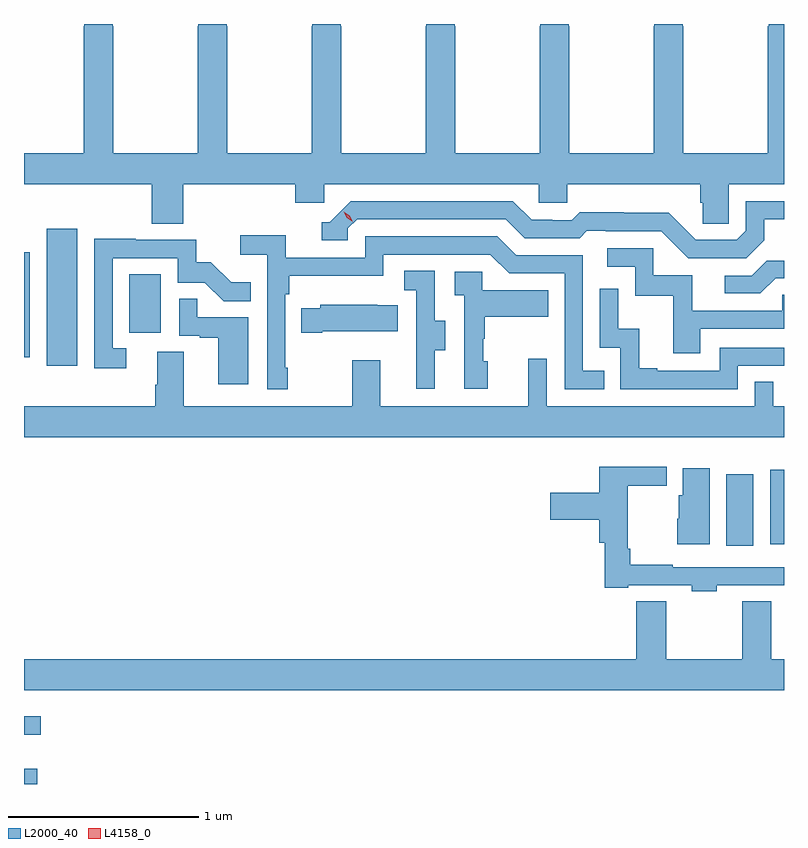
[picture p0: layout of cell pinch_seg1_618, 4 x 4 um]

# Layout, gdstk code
import gdstk
lib = gdstk.Library(unit=1e-6, precision=1e-09)
def R(c, l, rs):  # rectangles x0, y0, x1, y1
    for r in rs: c.add(gdstk.rectangle(r[:2], r[2:], *l))
def P(c, l, *ps):  # polygons
    for p in ps: c.add(gdstk.Polygon(p, *l))
L2000_40 = (2000, 40)
L4158_0 = (4158, 0)

pinch_seg1_618 = lib.new_cell('pinch_seg1_618')
R(pinch_seg1_618, L2000_40, [(1126.913,519.271,1126.984,519.352), (1126.913,519.531,1127.002,519.628), (1130.609,520.524,1130.752,520.9), (1130.84,520.532,1130.913,520.924), (1127.033,521.472,1127.194,522.193), (1126.913,521.518,1126.944,522.07), (1127.468,521.645,1127.632,521.953)])
P(pinch_seg1_618, L2000_40, [(1127.585,522.22),(1127.75,522.22),(1127.75,522.428),(1128.341,522.428),(1128.341,522.33),(1128.492,522.33),(1128.492,522.428),(1129.623,522.428),(1129.623,522.33),(1129.773,522.33),(1129.773,522.428),(1130.471,522.428),(1130.471,522.33),(1130.485,522.33),(1130.485,522.22),(1130.622,522.22),(1130.622,522.428),(1130.913,522.428),(1130.913,523.271),(1130.833,523.271),(1130.833,523.259),(1130.827,523.259),(1130.827,522.592),(1130.382,522.592),(1130.382,523.259),(1130.379,523.259),(1130.379,523.271),(1130.229,523.271),(1130.229,523.259),(1130.227,523.259),(1130.227,522.592),(1129.782,522.592),(1129.782,523.259),(1129.779,523.259),(1129.779,523.271),(1129.629,523.271),(1129.629,523.259),(1129.627,523.259),(1129.627,522.592),(1129.182,522.592),(1129.182,523.259),(1129.179,523.259),(1129.179,523.271),(1129.029,523.271),(1129.029,523.259),(1129.027,523.259),(1129.027,522.592),(1128.582,522.592),(1128.582,523.259),(1128.579,523.259),(1128.579,523.271),(1128.429,523.271),(1128.429,523.259),(1128.427,523.259),(1128.427,522.592),(1127.982,522.592),(1127.982,523.259),(1127.979,523.259),(1127.979,523.271),(1127.829,523.271),(1127.829,523.259),(1127.827,523.259),(1127.827,522.592),(1127.382,522.592),(1127.382,523.259),(1127.379,523.259),(1127.379,523.271),(1127.229,523.271),(1127.229,523.259),(1127.227,523.259),(1127.227,522.592),(1126.913,522.592),(1126.913,522.428),(1127.585,522.428)],
  [(1130.809,522.133),(1130.809,522.243),(1130.913,522.243),(1130.913,522.339),(1130.712,522.339),(1130.712,522.183),(1130.664,522.135),(1130.448,522.135),(1130.306,522.277),(1130.07,522.277),(1130.07,522.28),(1129.837,522.28),(1129.795,522.237),(1129.692,522.237),(1129.692,522.24),(1129.585,522.24),(1129.486,522.339),(1128.633,522.339),(1128.522,522.228),(1128.479,522.228),(1128.479,522.132),(1128.618,522.132),(1128.618,522.195),(1128.666,522.243),(1129.449,522.243),(1129.548,522.144),(1129.837,522.144),(1129.876,522.183),(1129.975,522.183),(1129.975,522.18),(1130.268,522.18),(1130.409,522.039),(1130.715,522.039)],
  [(1128.301,521.461),(1128.288,521.461),(1128.288,521.849),(1128.308,521.849),(1128.308,521.945),(1128.804,521.945),(1128.804,522.057),(1129.368,522.057),(1129.467,521.958),(1129.758,521.958),(1129.758,521.349),(1129.967,521.349),(1129.967,521.445),(1129.854,521.445),(1129.854,522.054),(1129.504,522.054),(1129.405,522.153),(1128.708,522.153),(1128.708,522.042),(1128.29,522.042),(1128.29,522.158),(1128.051,522.158),(1128.051,522.056),(1128.192,522.056),(1128.192,521.349),(1128.301,521.349)],
  [(1127.452,521.565),(1127.379,521.565),(1127.379,522.039),(1127.721,522.039),(1127.721,521.91),(1127.865,521.91),(1127.963,521.812),(1128.107,521.812),(1128.107,521.911),(1128.003,521.911),(1127.896,522.018),(1127.82,522.018),(1127.82,522.135),(1127.501,522.135),(1127.501,522.14),(1127.283,522.14),(1127.283,521.46),(1127.452,521.46)],
  [(1130.473,521.667),(1130.913,521.667),(1130.913,521.847),(1130.905,521.847),(1130.905,521.763),(1130.431,521.763),(1130.431,521.949),(1130.226,521.949),(1130.226,522.09),(1129.983,522.09),(1129.983,521.994),(1130.13,521.994),(1130.13,521.841),(1130.329,521.841),(1130.329,521.538),(1130.473,521.538)],
  [(1130.869,521.934),(1130.913,521.934),(1130.913,522.026),(1130.822,522.026),(1130.742,521.946),(1130.601,521.946),(1130.601,521.853),(1130.788,521.853)],
  [(1129.075,521.554),(1129.129,521.554),(1129.129,521.709),(1129.074,521.709),(1129.074,521.972),(1128.915,521.972),(1128.915,521.869),(1128.978,521.869),(1128.978,521.565),(1128.977,521.565),(1128.977,521.352),(1129.075,521.352)],
  [(1129.354,521.496),(1129.329,521.496),(1129.329,521.615),(1129.339,521.615),(1129.339,521.729),(1129.673,521.729),(1129.673,521.869),(1129.326,521.869),(1129.326,521.967),(1129.179,521.967),(1129.179,521.843),(1129.23,521.843),(1129.23,521.352),(1129.354,521.352)],
  [(1130.67,521.472),(1130.913,521.472),(1130.913,521.568),(1130.574,521.568),(1130.574,521.445),(1130.245,521.445),(1130.245,521.458),(1130.15,521.458),(1130.15,521.666),(1130.04,521.666),(1130.04,521.878),(1129.944,521.878),(1129.944,521.568),(1130.052,521.568),(1130.052,521.349),(1130.67,521.349)],
  [(1128.094,521.727),(1127.825,521.727),(1127.825,521.825),(1127.73,521.825),(1127.73,521.631),(1127.837,521.631),(1127.837,521.619),(1127.936,521.619),(1127.936,521.376),(1128.094,521.376)],
  [(1128.484,521.654),(1128.881,521.654),(1128.881,521.791),(1128.773,521.791),(1128.773,521.794),(1128.471,521.794),(1128.471,521.776),(1128.373,521.776),(1128.373,521.647),(1128.484,521.647)],
  [(1130.913,521.26),(1130.856,521.26),(1130.856,521.387),(1130.76,521.387),(1130.76,521.26),(1129.665,521.26),(1129.665,521.509),(1129.568,521.509),(1129.568,521.26),(1128.787,521.26),(1128.787,521.5),(1128.64,521.5),(1128.64,521.26),(1127.755,521.26),(1127.755,521.546),(1127.615,521.546),(1127.615,521.372),(1127.603,521.372),(1127.603,521.26),(1126.913,521.26),(1126.913,521.096),(1130.913,521.096)],
  [(1130.559,520.317),(1130.913,520.317),(1130.913,520.413),(1130.327,520.413),(1130.327,520.426),(1130.105,520.426),(1130.105,520.51),(1130.09,520.51),(1130.09,520.84),(1130.296,520.84),(1130.296,520.942),(1129.94,520.942),(1129.94,520.803),(1129.683,520.803),(1129.683,520.661),(1129.94,520.661),(1129.94,520.541),(1129.969,520.541),(1129.969,520.305),(1130.092,520.305),(1130.092,520.317),(1130.427,520.317),(1130.427,520.285),(1130.559,520.285)],
  [(1130.521,520.933),(1130.381,520.933),(1130.381,520.791),(1130.36,520.791),(1130.36,520.668),(1130.351,520.668),(1130.351,520.532),(1130.521,520.532)],
  [(1130.913,519.928),(1130.846,519.928),(1130.846,520.232),(1130.692,520.232),(1130.692,519.928),(1130.294,519.928),(1130.294,520.232),(1130.135,520.232),(1130.135,519.928),(1126.913,519.928),(1126.913,519.764),(1130.913,519.764)])
P(pinch_seg1_618, L4158_0, [(1128.643,522.23),(1128.612,522.25),(1128.597,522.283),(1128.597,522.283),(1128.597,522.283),(1128.628,522.263),(1128.643,522.231),(1128.643,522.23)])

lib.write_gds('pinch_seg1_618.gds')
